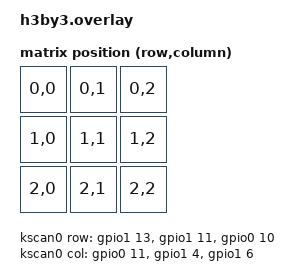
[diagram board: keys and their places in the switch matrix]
/*
 * h3by3 - 3x3 Handwired Macropad
 * Controller : Nice Nano v2 (nRF52840)
 *
 * Matrix wiring
 *   Rows : P1.13, P1.11, P0.10
 *   Cols : P0.11, P1.04, P1.06
 *
 * Physical layout
 *   RC(0,0) RC(0,1) RC(0,2)
 *   RC(1,0) RC(1,1) RC(1,2)
 *   RC(2,0) RC(2,1) RC(2,2)
 */

#include <dt-bindings/zmk/matrix_transform.h>
#include <physical_layouts.dtsi>

/ {
    chosen {
        zmk,kscan = &kscan0;
        zmk,matrix-transform = &default_transform;
        zmk,physical-layout = &physical_layout_0;
    };

    default_transform: keymap_transform_0 {
        compatible = "zmk,matrix-transform";
        columns = <3>;
        rows = <3>;

        map = <
            RC(0,0) RC(0,1) RC(0,2)
            RC(1,0) RC(1,1) RC(1,2)
            RC(2,0) RC(2,1) RC(2,2)
        >;
    };

    kscan0: kscan {
        compatible = "zmk,kscan-gpio-matrix";
        wakeup-source;

        diode-direction = "col2row";

        row-gpios
            = <&gpio1 13 (GPIO_ACTIVE_HIGH | GPIO_PULL_DOWN)>
            , <&gpio1 11 (GPIO_ACTIVE_HIGH | GPIO_PULL_DOWN)>
            , <&gpio0 10 (GPIO_ACTIVE_HIGH | GPIO_PULL_DOWN)>
            ;

        col-gpios
            = <&gpio0 11 GPIO_ACTIVE_HIGH>
            , <&gpio1 4  GPIO_ACTIVE_HIGH>
            , <&gpio1 6  GPIO_ACTIVE_HIGH>
            ;
    };

    physical_layout_0: physical_layout_0 {
        compatible = "zmk,physical-layout";
        display-name = "Default";
        transform = <&default_transform>;
        kscan = <&kscan0>;
        keys                      //  w    h    x    y   rot   rx   ry
            = <&key_physical_attrs 100 100    0    0     0    0    0>
            , <&key_physical_attrs 100 100  100    0     0    0    0>
            , <&key_physical_attrs 100 100  200    0     0    0    0>
            , <&key_physical_attrs 100 100    0  100     0    0    0>
            , <&key_physical_attrs 100 100  100  100     0    0    0>
            , <&key_physical_attrs 100 100  200  100     0    0    0>
            , <&key_physical_attrs 100 100    0  200     0    0    0>
            , <&key_physical_attrs 100 100  100  200     0    0    0>
            , <&key_physical_attrs 100 100  200  200     0    0    0>
            ;
    };
};
